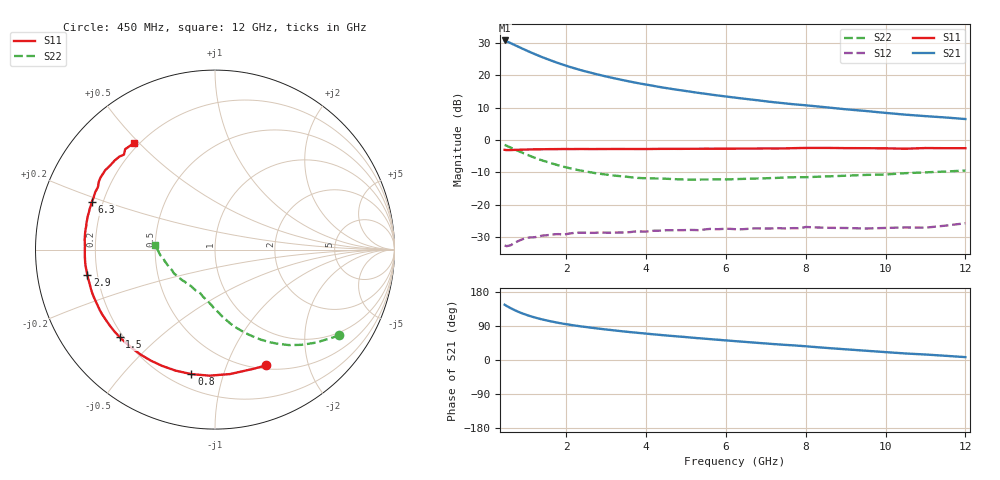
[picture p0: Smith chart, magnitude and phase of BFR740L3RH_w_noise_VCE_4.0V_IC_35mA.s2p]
! (c) 2012  Infineon Technologies AG, Munich
! Infineon Technologies  Discrete & RF Semiconductors
! BFR740L3RH
! VCE =  4.0 V,  IC =  35 mA
! Common Emitter S-Parameters:  May 2012
# GHz  S  MA  R  50
!  f  S11  S21  S12  S22
! GHz  MAG  ANG  MAG  ANG  MAG  ANG  MAG  ANG
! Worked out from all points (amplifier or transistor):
!   85 points, 450 MHz to 12 GHz, reference 50 ohm
!   highest |S21| = 30.8 dB at 450 MHz (marker M1)
!   |S21| within 3 dB of that: start of sweep to 979.6 MHz
!   unconditionally stable (mu >= 1): 5.617 GHz to end of sweep
!   at 1.8 GHz: K = 0.35, MSG = 26.5 dB, |S12| = -29.1 dB
!   at 4.6 GHz: K = 0.85, MSG = 21.9 dB, |S12| = -27.9 dB
!   at 12 GHz: K = 1.91, MAG = 10.7 dB, |S12| = -25.8 dB
!   lowest NFmin = 1.30 dB at 450 MHz
!   S11 on the Smith chart (normalised r, x): 450 MHz: 0.54, -1.39; 800 MHz: 0.28, -0.79; 1.5 GHz: 0.19, -0.38; 2.9 GHz: 0.16, -0.10; 6.3 GHz: 0.16, +0.18; 12 GHz: 0.18, +0.48
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0.45  0.7049 -66.2  34.81 145.8  0.0233 62.8  0.8411 -34.5
0.5  0.6979 -72.1  33.7 142.7  0.0227 59.6  0.8143 -37.2
0.6  0.6985 -83.1  31.65 136.8  0.0234 52.4  0.7644 -42.7
0.7  0.703 -92.5  29.65 131.6  0.0256 47.3  0.7174 -47.7
0.8  0.7061 -100.7  27.72 126.9  0.0274 43.7  0.6732 -52.2
0.9  0.7091 -107.9  25.94 122.7  0.0291 41.0  0.6329 -56.1
1  0.7117 -114.4  24.32 119.0  0.0305 39.5  0.5966 -59.7
1.1  0.7146 -120.1  22.84 115.5  0.031 37.4  0.563 -63.0
1.3  0.7179 -129.8  20.25 109.5  0.0321 33.7  0.5052 -68.8
1.5  0.721 -137.5  18.1 104.5  0.0335 30.0  0.4601 -73.7
1.7  0.7229 -144.1  16.28 100.1  0.0347 28.5  0.4224 -78.1
1.9  0.7248 -150.0  14.76 96.1  0.0345 27.8  0.3893 -81.9
2.1  0.7241 -154.5  13.47 92.7  0.0358 26.8  0.3634 -85.2
2.4  0.7255 -160.7  11.9 88.2  0.0367 24.2  0.3333 -89.9
2.9  0.7251 -168.8  9.946 81.7  0.0369 23.8  0.2967 -96.5
3.6  0.7257 -178.1  8.015 73.6  0.0375 22.9  0.2656 -105.8
4.3  0.7284 175.1  6.687 66.6  0.0394 24.6  0.2533 -113.5
5.3  0.7321 166.2  5.38 57.6  0.0402 24.2  0.2436 -125.0
6.3  0.7359 158.8  4.476 49.2  0.0414 23.5  0.2487 -136.0
8.5  0.7547 144.1  3.216 32.0  0.0437 24.9  0.273 -158.9
10.5  0.7331 133.8  2.469 17.2  0.0443 29.7  0.3065 -174.2
12  0.747 127.4  2.112 7.6  0.0514 37.4  0.3373 176.0
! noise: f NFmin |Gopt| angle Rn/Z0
0.45  1.3  0.15  179  0.12
0.9  1.31  0.15  177  0.12
1.5  1.33  0.16  175  0.11
1.9  1.34  0.17  174  0.11
2.4  1.37  0.18  175  0.11
3.5  1.44  0.19  176  0.11
5.5  1.61  0.25  180  0.1
8  1.88  0.31  -164  0.12
10  2.1  0.33  -150  0.16
12  2.33  0.41  -128  0.26
